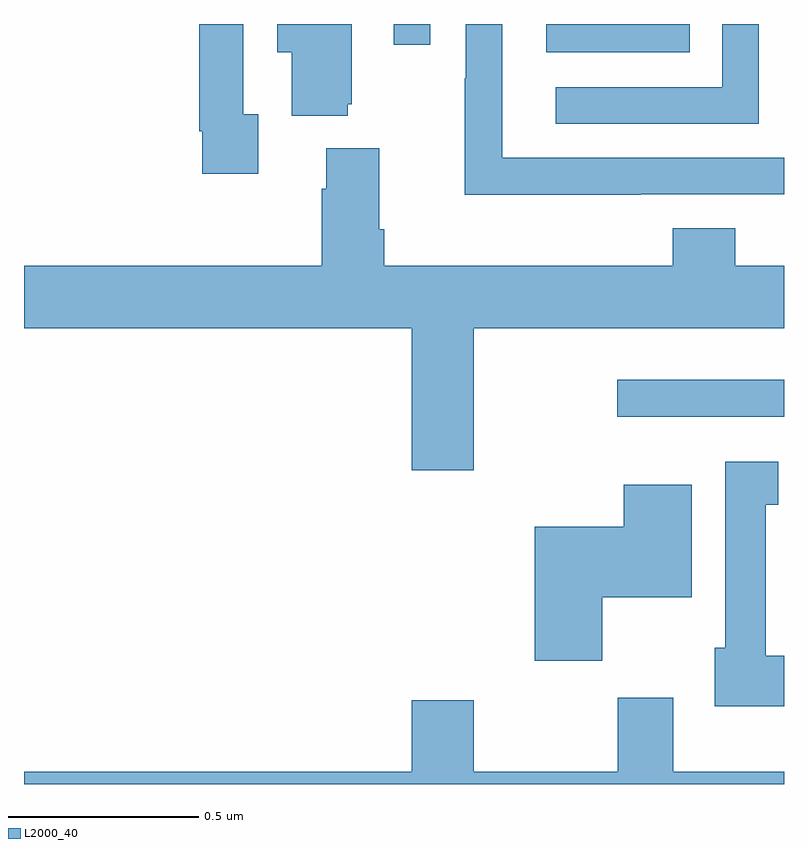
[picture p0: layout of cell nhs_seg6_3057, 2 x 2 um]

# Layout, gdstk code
import gdstk
lib = gdstk.Library(unit=1e-6, precision=1e-09)
def R(c, l, rs):  # rectangles x0, y0, x1, y1
    for r in rs: c.add(gdstk.rectangle(r[:2], r[2:], *l))
def P(c, l, *ps):  # polygons
    for p in ps: c.add(gdstk.Polygon(p, *l))
L2000_40 = (2000, 40)

nhs_seg6_3057 = lib.new_cell('nhs_seg6_3057')
R(nhs_seg6_3057, L2000_40, [(153.561,916.467,154,916.564), (153.374,917.426,153.752,917.5), (152.973,917.445,153.069,917.5)])
P(nhs_seg6_3057, L2000_40, [(152.852,917.289),(152.863,917.289),(152.863,917.5),(152.666,917.5),(152.666,917.426),(152.705,917.426),(152.705,917.258),(152.852,917.258)],
  [(152.617,917.262),(152.577,917.262),(152.577,917.5),(152.461,917.5),(152.461,917.218),(152.469,917.218),(152.469,917.106),(152.617,917.106)],
  [(153.933,917.5),(153.837,917.5),(153.837,917.334),(153.399,917.334),(153.399,917.238),(153.933,917.238)],
  [(153.623,917.052),(154,917.052),(154,917.148),(153.258,917.148),(153.258,917.5),(153.162,917.5),(153.162,917.357),(153.16,917.357),(153.16,917.051),(153.623,917.051)],
  [(153.184,916.7),(154,916.7),(154,916.864),(153.872,916.864),(153.872,916.963),(153.707,916.963),(153.707,916.864),(152.948,916.864),(152.948,916.96),(152.935,916.96),(152.935,917.173),(152.795,917.173),(152.795,917.066),(152.783,917.066),(152.783,916.864),(152,916.864),(152,916.7),(153.02,916.7),(153.02,916.326),(153.184,916.326)],
  [(154,915.838),(153.952,915.838),(153.952,916.235),(153.985,916.235),(153.985,916.348),(153.845,916.348),(153.845,915.858),(153.818,915.858),(153.818,915.704),(154,915.704)],
  [(153.522,915.992),(153.757,915.992),(153.757,916.288),(153.578,916.288),(153.578,916.177),(153.344,916.177),(153.344,915.825),(153.522,915.825)],
  [(154,915.532),(153.709,915.532),(153.709,915.727),(153.562,915.727),(153.562,915.532),(153.184,915.532),(153.184,915.721),(153.02,915.721),(153.02,915.532),(152,915.532),(152,915.5),(154,915.5)])

lib.write_gds('nhs_seg6_3057.gds')
